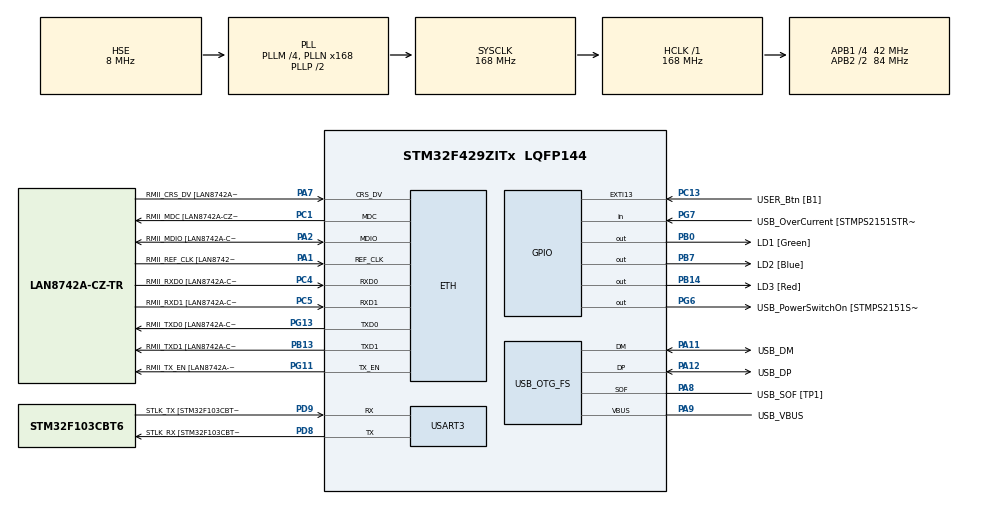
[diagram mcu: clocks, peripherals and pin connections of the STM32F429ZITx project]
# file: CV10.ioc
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ETH.MACAddr=00\:80\:E1\:FE\:EC\:71
ETH.MediaInterface=ETH_MEDIA_INTERFACE_RMII
ETH.PHY_Name=LAN8742A_PHY_ADDRESS
ETH.PHY_Value=0
ETH.PhyAddress=0
FREERTOS.Tasks01=defaultTask,0,128,StartDefaultTask,Default,NULL,Dynamic,NULL,NULL
FREERTOS.configTOTAL_HEAP_SIZE=32768
LWIP.LWIP_HTTPD=1
LWIP.LWIP_HTTPD_CGI=1
LWIP.LWIP_HTTPD_CGI_SSI=0
LWIP.Version=v2.0.3_Cube
Mcu.Family=STM32F4
Mcu.Name=STM32F429ZITx
Mcu.Package=LQFP144
NVIC.PriorityGroup=NVIC_PRIORITYGROUP_4
NVIC.TIM1_UP_TIM10_IRQn=true\:0\:0\:false\:false\:true\:false\:false\:true
NVIC.TimeBase=TIM1_UP_TIM10_IRQn
NVIC.TimeBaseIP=TIM1
PA1.GPIO_Label=RMII_REF_CLK [LAN8742A-CZ-TR_REFCLK0]
PA1.Mode=RMII
PA1.Signal=ETH_REF_CLK
PA10.GPIO_Label=USB_ID
PA10.Signal=USB_OTG_FS_ID
PA11.GPIO_Label=USB_DM
PA11.Mode=Device_Only
PA11.Signal=USB_OTG_FS_DM
PA12.GPIO_Label=USB_DP
PA12.Mode=Device_Only
PA12.Signal=USB_OTG_FS_DP
PA13.GPIO_Label=TMS
PA13.Mode=Serial_Wire
PA13.Signal=SYS_JTMS-SWDIO
PA14.GPIO_Label=TCK
PA14.Mode=Serial_Wire
PA14.Signal=SYS_JTCK-SWCLK
PA2.GPIO_Label=RMII_MDIO [LAN8742A-CZ-TR_MDIO]
PA2.Mode=RMII
PA2.Signal=ETH_MDIO
PA7.GPIO_Label=RMII_CRS_DV [LAN8742A-CZ-TR_CRS_DV]
PA7.Mode=RMII
PA7.Signal=ETH_CRS_DV
PA8.GPIO_Label=USB_SOF [TP1]
PA8.Mode=Activate_SOF_FS
PA8.Signal=USB_OTG_FS_SOF
PA9.GPIO_Label=USB_VBUS
PA9.Mode=Activate_VBUS
PA9.Signal=USB_OTG_FS_VBUS
PB0.GPIO_Label=LD1 [Green]
PB0.Signal=GPIO_Output
PB13.GPIO_Label=RMII_TXD1 [LAN8742A-CZ-TR_TXD1]
PB13.Mode=RMII
PB13.Signal=ETH_TXD1
PB14.GPIO_Label=LD3 [Red]
PB14.Signal=GPIO_Output
PB7.GPIO_Label=LD2 [Blue]
PB7.Signal=GPIO_Output
PC1.GPIO_Label=RMII_MDC [LAN8742A-CZ-TR_MDC]
PC1.Mode=RMII
PC1.Signal=ETH_MDC
PC13.GPIO_Label=USER_Btn [B1]
PC13.Signal=GPXTI13
PC14/OSC32_IN.Mode=LSE-External-Oscillator
PC14/OSC32_IN.Signal=RCC_OSC32_IN
PC15/OSC32_OUT.Mode=LSE-External-Oscillator
PC15/OSC32_OUT.Signal=RCC_OSC32_OUT
PC4.GPIO_Label=RMII_RXD0 [LAN8742A-CZ-TR_RXD0]
PC4.Mode=RMII
PC4.Signal=ETH_RXD0
PC5.GPIO_Label=RMII_RXD1 [LAN8742A-CZ-TR_RXD1]
PC5.Mode=RMII
PC5.Signal=ETH_RXD1
PD8.GPIO_Label=STLK_RX [STM32F103CBT6_PA3]
PD8.Mode=Asynchronous
PD8.Signal=USART3_TX
PD9.GPIO_Label=STLK_TX [STM32F103CBT6_PA2]
PD9.Mode=Asynchronous
PD9.Signal=USART3_RX
PG11.GPIO_Label=RMII_TX_EN [LAN8742A-CZ-TR_TXEN]
PG11.Mode=RMII
PG11.Signal=ETH_TX_EN
PG13.GPIO_Label=RMII_TXD0 [LAN8742A-CZ-TR_TXD0]
PG13.Mode=RMII
PG13.Signal=ETH_TXD0
PG6.GPIO_Label=USB_PowerSwitchOn [STMPS2151STR_EN]
PG6.Signal=GPIO_Output
PG7.GPIO_Label=USB_OverCurrent [STMPS2151STR_FAULT]
PG7.Signal=GPIO_Input
PH0/OSC_IN.GPIO_Label=MCO [STM32F103CBT6_PA8]
PH0/OSC_IN.Mode=HSE-External-Clock-Source
PH0/OSC_IN.Signal=RCC_OSC_IN
PH1/OSC_OUT.Mode=HSE-External-Clock-Source
PH1/OSC_OUT.Signal=RCC_OSC_OUT
ProjectManager.HeapSize=0x200
ProjectManager.StackSize=0x400
ProjectManager.TargetToolchain=STM32CubeIDE
RCC.48MHZClocksFreq_Value=48000000
RCC.AHBFreq_Value=168000000
RCC.APB1CLKDivider=RCC_HCLK_DIV4
RCC.APB1Freq_Value=42000000
RCC.APB1TimFreq_Value=84000000
RCC.APB2CLKDivider=RCC_HCLK_DIV2
RCC.APB2Freq_Value=84000000
RCC.APB2TimCLKDivider=2
RCC.APB2TimFreq_Value=168000000
RCC.CortexFreq_Value=168000000
RCC.HCLKFreq_Value=168000000
RCC.HSE_VALUE=8000000
RCC.HSI_VALUE=16000000
RCC.PLLM=4
RCC.PLLMUL=RCC_PLL_MUL9
RCC.PLLN=168
RCC.PLLQ=7
RCC.PRESCALERUSB=RCC_USBCLKSOURCE_PLL_DIV1_5
RCC.SYSCLKFreq_VALUE=168000000
RCC.SYSCLKSource=RCC_SYSCLKSOURCE_PLLCLK
RCC.SYSCLKSourceVirtual=RCC_SYSCLKSOURCE_PLLCLK
RCC.USBFreq_Value=48000000
RCC.VCOOutputFreq_Value=336000000
USART3.VirtualMode=VM_ASYNC
USB_OTG_FS.VirtualMode=Device_Only
VP_FREERTOS_VS_CMSIS_V1.Mode=CMSIS_V1
VP_LWIP_VS_Enabled.Mode=Enabled
VP_SYS_VS_tim1.Mode=TIM1
board=NUCLEO-F429ZI

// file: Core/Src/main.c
/* USER CODE BEGIN Header */
/**
 ******************************************************************************
 * @file           : main.c
 * @brief          : Main program body
 ******************************************************************************
 * @attention
 *
 * <h2><center>&copy; Copyright (c) 2020 STMicroelectronics.
 * All rights reserved.</center></h2>
 *
 * This software component is licensed by ST under BSD 3-Clause license,
 * the "License"; You may not use this file except in compliance with the
 * License. You may obtain a copy of the License at:
 *                        opensource.org/licenses/BSD-3-Clause
 *
 ******************************************************************************
 */
/* USER CODE END Header */

#include "main.h"
#include "cmsis_os.h"
#include "lwip.h"

/* USER CODE BEGIN Includes */
#include "lwip/apps/httpd.h"

/* USER CODE END Includes */

UART_HandleTypeDef huart3;

PCD_HandleTypeDef hpcd_USB_OTG_FS;

osThreadId defaultTaskHandle;

void SystemClock_Config(void);
static void MX_GPIO_Init(void);
static void MX_USART3_UART_Init(void);
static void MX_USB_OTG_FS_PCD_Init(void);
void StartDefaultTask(void const * argument);

/* USER CODE BEGIN PFP */
extern void tcpecho_init(void);
extern void telnet_init(void);
extern void http_server_init(void);// cgi inicializace

/* USER CODE END PFP */

int main(void)
{

	/* MCU Configuration--------------------------------------------------------*/

	/* Reset of all peripherals, Initializes the Flash interface and the Systick. */
	HAL_Init();

	/* Configure the system clock */
	SystemClock_Config();

	/* Initialize all configured peripherals */
	MX_GPIO_Init();
	MX_USART3_UART_Init();
	MX_USB_OTG_FS_PCD_Init();
	MX_LWIP_Init();

	/* Create the thread(s) */
	/* definition and creation of defaultTask */
	osThreadDef(defaultTask, StartDefaultTask, osPriorityNormal, 0, 128);
	defaultTaskHandle = osThreadCreate(osThread(defaultTask), NULL);

	/* USER CODE BEGIN RTOS_THREADS */
	/* add threads, ... */

	/* We should never get here as control is now taken by the scheduler */

	/* Start scheduler */
	osKernelStart();

	/* Infinite loop */
	/* USER CODE BEGIN WHILE */
	while (1)
	{
		/* USER CODE END WHILE */

		/* USER CODE BEGIN 3 */
	}
	/* USER CODE END 3 */
}

/**
 * @brief System Clock Configuration
 * @retval None
 */
void SystemClock_Config(void)
{
	RCC_OscInitTypeDef RCC_OscInitStruct = {0};
	RCC_ClkInitTypeDef RCC_ClkInitStruct = {0};

	/** Configure the main internal regulator output voltage
	 */
	__HAL_RCC_PWR_CLK_ENABLE();
	__HAL_PWR_VOLTAGESCALING_CONFIG(PWR_REGULATOR_VOLTAGE_SCALE1);
	/** Initializes the CPU, AHB and APB busses clocks
	 */
	RCC_OscInitStruct.OscillatorType = RCC_OSCILLATORTYPE_HSE;
	RCC_OscInitStruct.HSEState = RCC_HSE_BYPASS;
	RCC_OscInitStruct.PLL.PLLState = RCC_PLL_ON;
	RCC_OscInitStruct.PLL.PLLSource = RCC_PLLSOURCE_HSE;
	RCC_OscInitStruct.PLL.PLLM = 4;
	RCC_OscInitStruct.PLL.PLLN = 168;
	RCC_OscInitStruct.PLL.PLLP = RCC_PLLP_DIV2;
	RCC_OscInitStruct.PLL.PLLQ = 7;
	if (HAL_RCC_OscConfig(&RCC_OscInitStruct) != HAL_OK)
	{
		Error_Handler();
	}
	/** Initializes the CPU, AHB and APB busses clocks
	 */
	RCC_ClkInitStruct.ClockType = RCC_CLOCKTYPE_HCLK|RCC_CLOCKTYPE_SYSCLK
			|RCC_CLOCKTYPE_PCLK1|RCC_CLOCKTYPE_PCLK2;
	RCC_ClkInitStruct.SYSCLKSource = RCC_SYSCLKSOURCE_PLLCLK;
	RCC_ClkInitStruct.AHBCLKDivider = RCC_SYSCLK_DIV1;
	RCC_ClkInitStruct.APB1CLKDivider = RCC_HCLK_DIV4;
	RCC_ClkInitStruct.APB2CLKDivider = RCC_HCLK_DIV2;

	if (HAL_RCC_ClockConfig(&RCC_ClkInitStruct, FLASH_LATENCY_5) != HAL_OK)
	{
		Error_Handler();
	}
}

/**
 * @brief USART3 Initialization Function
 * @param None
 * @retval None
 */
static void MX_USART3_UART_Init(void)
{

	/* USER CODE BEGIN USART3_Init 0 */

	/* USER CODE END USART3_Init 0 */

	/* USER CODE BEGIN USART3_Init 1 */

	/* USER CODE END USART3_Init 1 */
	huart3.Instance = USART3;
	huart3.Init.BaudRate = 115200;
	huart3.Init.WordLength = UART_WORDLENGTH_8B;
	huart3.Init.StopBits = UART_STOPBITS_1;
	huart3.Init.Parity = UART_PARITY_NONE;
	huart3.Init.Mode = UART_MODE_TX_RX;
	huart3.Init.HwFlowCtl = UART_HWCONTROL_NONE;
	huart3.Init.OverSampling = UART_OVERSAMPLING_16;
	if (HAL_UART_Init(&huart3) != HAL_OK)
	{
		Error_Handler();
	}
	/* USER CODE BEGIN USART3_Init 2 */

	/* USER CODE END USART3_Init 2 */

}

/**
 * @brief USB_OTG_FS Initialization Function
 * @param None
 * @retval None
 */
static void MX_USB_OTG_FS_PCD_Init(void)
{

	/* USER CODE BEGIN USB_OTG_FS_Init 0 */

	/* USER CODE END USB_OTG_FS_Init 0 */

	/* USER CODE BEGIN USB_OTG_FS_Init 1 */

	/* USER CODE END USB_OTG_FS_Init 1 */
	hpcd_USB_OTG_FS.Instance = USB_OTG_FS;
	hpcd_USB_OTG_FS.Init.dev_endpoints = 4;
	hpcd_USB_OTG_FS.Init.speed = PCD_SPEED_FULL;
	hpcd_USB_OTG_FS.Init.dma_enable = DISABLE;
	hpcd_USB_OTG_FS.Init.phy_itface = PCD_PHY_EMBEDDED;
	hpcd_USB_OTG_FS.Init.Sof_enable = ENABLE;
	hpcd_USB_OTG_FS.Init.low_power_enable = DISABLE;
	hpcd_USB_OTG_FS.Init.lpm_enable = DISABLE;
	hpcd_USB_OTG_FS.Init.vbus_sensing_enable = ENABLE;
	hpcd_USB_OTG_FS.Init.use_dedicated_ep1 = DISABLE;
	if (HAL_PCD_Init(&hpcd_USB_OTG_FS) != HAL_OK)
	{
		Error_Handler();
	}
	/* USER CODE BEGIN USB_OTG_FS_Init 2 */

	/* USER CODE END USB_OTG_FS_Init 2 */

}

/**
 * @brief GPIO Initialization Function
 * @param None
 * @retval None
 */
static void MX_GPIO_Init(void)
{
	GPIO_InitTypeDef GPIO_InitStruct = {0};

	/* GPIO Ports Clock Enable */
	__HAL_RCC_GPIOC_CLK_ENABLE();
	__HAL_RCC_GPIOH_CLK_ENABLE();
	__HAL_RCC_GPIOA_CLK_ENABLE();
	__HAL_RCC_GPIOB_CLK_ENABLE();
	__HAL_RCC_GPIOD_CLK_ENABLE();
	__HAL_RCC_GPIOG_CLK_ENABLE();

	/*Configure GPIO pin Output Level */
	HAL_GPIO_WritePin(GPIOB, LD1_Pin|LD3_Pin|LD2_Pin, GPIO_PIN_RESET);

	/*Configure GPIO pin Output Level */
	HAL_GPIO_WritePin(USB_PowerSwitchOn_GPIO_Port, USB_PowerSwitchOn_Pin, GPIO_PIN_RESET);

	/*Configure GPIO pin : USER_Btn_Pin */
	GPIO_InitStruct.Pin = USER_Btn_Pin;
	GPIO_InitStruct.Mode = GPIO_MODE_IT_RISING;
	GPIO_InitStruct.Pull = GPIO_NOPULL;
	HAL_GPIO_Init(USER_Btn_GPIO_Port, &GPIO_InitStruct);

	/*Configure GPIO pins : LD1_Pin LD3_Pin LD2_Pin */
	GPIO_InitStruct.Pin = LD1_Pin|LD3_Pin|LD2_Pin;
	GPIO_InitStruct.Mode = GPIO_MODE_OUTPUT_PP;
	GPIO_InitStruct.Pull = GPIO_NOPULL;
	GPIO_InitStruct.Speed = GPIO_SPEED_FREQ_LOW;
	HAL_GPIO_Init(GPIOB, &GPIO_InitStruct);

	/*Configure GPIO pin : USB_PowerSwitchOn_Pin */
	GPIO_InitStruct.Pin = USB_PowerSwitchOn_Pin;
	GPIO_InitStruct.Mode = GPIO_MODE_OUTPUT_PP;
	GPIO_InitStruct.Pull = GPIO_NOPULL;
	GPIO_InitStruct.Speed = GPIO_SPEED_FREQ_LOW;
	HAL_GPIO_Init(USB_PowerSwitchOn_GPIO_Port, &GPIO_InitStruct);

	/*Configure GPIO pin : USB_OverCurrent_Pin */
	GPIO_InitStruct.Pin = USB_OverCurrent_Pin;
	GPIO_InitStruct.Mode = GPIO_MODE_INPUT;
	GPIO_InitStruct.Pull = GPIO_NOPULL;
	HAL_GPIO_Init(USB_OverCurrent_GPIO_Port, &GPIO_InitStruct);

}

/* USER CODE BEGIN 4 */

/* USER CODE END 4 */

/* USER CODE BEGIN Header_StartDefaultTask */
/**
 * @brief  Function implementing the defaultTask thread.
 * @param  argument: Not used
 * @retval None
 */
/* USER CODE END Header_StartDefaultTask */
void StartDefaultTask(void const * argument)
{
	/* USER CODE BEGIN 5 */
	/* Infinite loop */

	/* Initialize tcp echo server */
	tcpecho_init();

	/* Initialize HTTP server */
	httpd_init();

	/* Initialize telnet server */
	telnet_init();

	/* Initialize cgi server */
	http_server_init();
	/* USER CODE END RTOS_THREADS */

	for(;;)
	{
		osDelay(1);
	}
	/* USER CODE END 5 */
}

void HAL_TIM_PeriodElapsedCallback(TIM_HandleTypeDef *htim)
{
	if (htim->Instance == TIM1) {
		HAL_IncTick();
	}
}

void Error_Handler(void)
{
}

/************************ (C) COPYRIGHT STMicroelectronics *****END OF FILE****/
